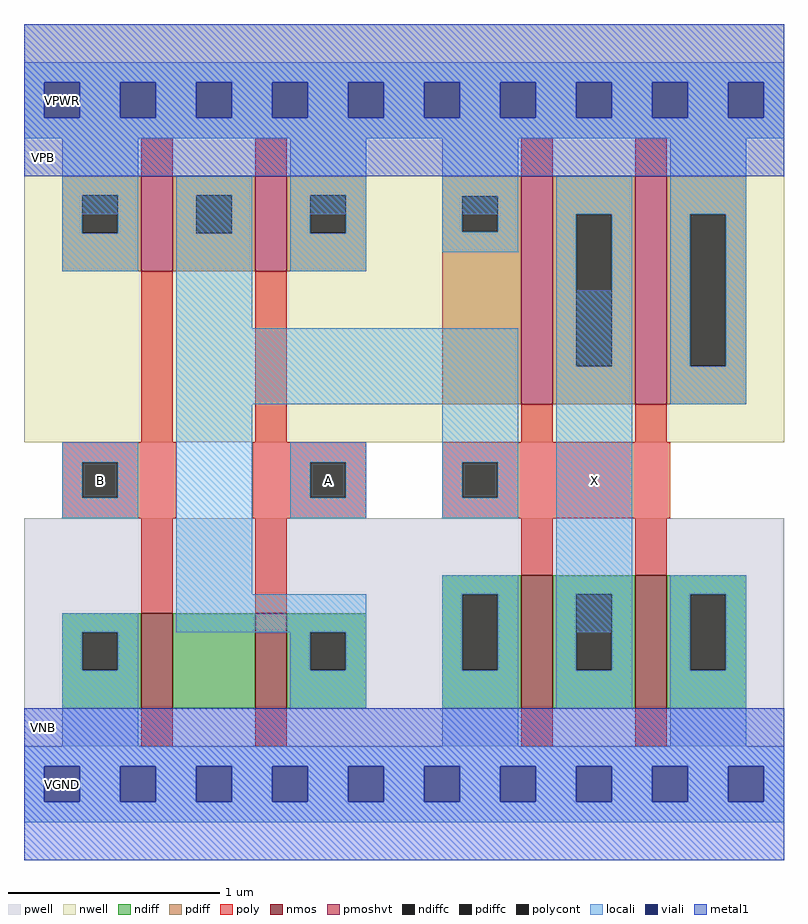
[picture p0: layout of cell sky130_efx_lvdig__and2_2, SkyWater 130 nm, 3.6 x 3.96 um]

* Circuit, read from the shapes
.subckt sky130_efx_lvdig__and2_2 B A X VGND VPWR VPB VNB
XM1 n1 B VGND VNB sky130_fd_pr__nfet_01v8 w=0.45 l=0.15
XM2 n2 A n1 VNB sky130_fd_pr__nfet_01v8 w=0.45 l=0.15
XM3 X n2 VGND VNB sky130_fd_pr__nfet_01v8 w=0.63 l=0.15 m=2
XM4 n2 B VPWR VPB sky130_fd_pr__pfet_01v8_hvt w=0.45 l=0.15
XM5 VPWR A n2 VPB sky130_fd_pr__pfet_01v8_hvt w=0.45 l=0.15
XM6 X n2 VPWR VPB sky130_fd_pr__pfet_01v8_hvt w=1.08 l=0.15 m=2
.ends

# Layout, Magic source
magic
tech sky130A
magscale 1 2
<< nwell >>
rect 0 288 720 684
<< pwell >>
rect 0 0 720 216
<< poly >>
rect 36 269 144 288
rect 36 235 55 269
rect 89 235 144 269
rect 36 216 144 235
rect 216 269 324 288
rect 216 235 271 269
rect 305 235 324 269
rect 216 216 324 235
rect 396 269 612 288
rect 396 235 415 269
rect 449 235 612 269
rect 396 216 612 235
<< polycont >>
rect 55 235 89 269
rect 271 235 305 269
rect 415 235 449 269
<< locali >>
rect 0 629 720 648
rect 0 595 19 629
rect 53 595 91 629
rect 125 595 163 629
rect 197 595 235 629
rect 269 595 307 629
rect 341 595 379 629
rect 413 595 451 629
rect 485 595 523 629
rect 557 595 595 629
rect 629 595 667 629
rect 701 595 720 629
rect 0 576 720 595
rect 36 504 108 576
rect 144 396 216 540
rect 252 504 324 576
rect 396 504 468 576
rect 612 504 684 576
rect 144 324 468 396
rect 36 269 108 288
rect 36 235 55 269
rect 89 235 108 269
rect 36 216 108 235
rect 144 144 216 324
rect 252 269 324 288
rect 252 235 271 269
rect 305 235 324 269
rect 252 216 324 235
rect 396 269 468 324
rect 396 235 415 269
rect 449 235 468 269
rect 396 216 468 235
rect 144 108 324 144
rect 504 108 576 432
rect 36 0 108 72
rect 396 0 468 72
rect 612 0 684 72
rect 0 -19 720 0
rect 0 -53 19 -19
rect 53 -53 91 -19
rect 125 -53 163 -19
rect 197 -53 235 -19
rect 269 -53 307 -19
rect 341 -53 379 -19
rect 413 -53 451 -19
rect 485 -53 523 -19
rect 557 -53 595 -19
rect 629 -53 667 -19
rect 701 -53 720 -19
rect 0 -72 720 -53
<< viali >>
rect 19 595 53 629
rect 91 595 125 629
rect 163 595 197 629
rect 235 595 269 629
rect 307 595 341 629
rect 379 595 413 629
rect 451 595 485 629
rect 523 595 557 629
rect 595 595 629 629
rect 667 595 701 629
rect 19 -53 53 -19
rect 91 -53 125 -19
rect 163 -53 197 -19
rect 235 -53 269 -19
rect 307 -53 341 -19
rect 379 -53 413 -19
rect 451 -53 485 -19
rect 523 -53 557 -19
rect 595 -53 629 -19
rect 667 -53 701 -19
<< metal1 >>
rect 0 629 720 684
rect 0 595 19 629
rect 53 595 91 629
rect 125 595 163 629
rect 197 595 235 629
rect 269 595 307 629
rect 341 595 379 629
rect 413 595 451 629
rect 485 595 523 629
rect 557 595 595 629
rect 629 595 667 629
rect 701 595 720 629
rect 0 540 720 595
rect 0 -19 720 36
rect 0 -53 19 -19
rect 53 -53 91 -19
rect 125 -53 163 -19
rect 197 -53 235 -19
rect 269 -53 307 -19
rect 341 -53 379 -19
rect 413 -53 451 -19
rect 485 -53 523 -19
rect 557 -53 595 -19
rect 629 -53 667 -19
rect 701 -53 720 -19
rect 0 -108 720 -53
use nmos_n2f5_f2_l150_fnf  nmos_n2f5_f2_l150_fnf_0
transform 1 0 72 0 1 36
box -72 -36 288 180
use nmos_n3f5_f1_l150  nmos_n3f5_f1_l150_0
transform 1 0 432 0 1 36
box -72 -36 180 180
use nmos_n3f5_f1_l150  nmos_n3f5_f1_l150_1
transform 1 0 540 0 1 36
box -72 -36 180 180
use pmos_n2f5_f2_l150_hvt_fff  pmos_n2f5_f2_l150_hvt_fff_0
transform 1 0 72 0 1 450
box -72 -162 288 126
use pmos_n6_f1_l150_hvt  pmos_n6_f1_l150_hvt_0
transform 1 0 540 0 1 324
box -72 -36 180 252
use pmos_n6_f1_l150_hvt_tf  pmos_n6_f1_l150_hvt_tf_0
transform 1 0 432 0 1 324
box -72 -36 180 252
<< labels >>
flabel locali 36 216 108 288 0 FreeSans 288 0 0 0 B
port 1 nsew signal input
flabel locali 252 216 324 288 0 FreeSans 288 0 0 0 A
port 2 nsew signal input
flabel locali 504 216 576 288 0 FreeSans 288 0 0 0 X
port 3 nsew signal output
flabel metal1 0 -72 72 0 0 FreeSans 288 0 0 0 VGND
port 4 nsew ground bidirectional
flabel metal1 0 576 72 648 0 FreeSans 288 0 0 0 VPWR
port 5 nsew power bidirectional
flabel nwell 0 540 36 576 0 FreeSans 288 0 0 0 VPB
port 6 nsew power bidirectional
flabel pwell 0 0 36 36 0 FreeSans 288 0 0 0 VNB
port 7 nsew ground bidirectional
<< properties >>
string FIXED_BBOX 0 -36 720 612
<< end >>

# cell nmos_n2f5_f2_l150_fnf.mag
magic
tech sky130A
magscale 1 2
<< pwell >>
rect -72 -36 288 180
<< nmos >>
rect 39 0 69 90
rect 147 0 177 90
<< ndiff >>
rect -36 72 39 90
rect -36 36 -17 72
rect 17 36 39 72
rect -36 0 39 36
rect 69 0 147 90
rect 177 72 252 90
rect 177 36 199 72
rect 233 36 252 72
rect 177 0 252 36
<< ndiffc >>
rect -17 36 17 72
rect 199 36 233 72
<< poly >>
rect 39 90 69 180
rect 147 90 177 180
rect 39 -36 69 0
rect 147 -36 177 0
<< locali >>
rect -36 72 36 90
rect -36 36 -17 72
rect 17 36 36 72
rect -36 0 36 36
rect 180 72 252 90
rect 180 36 199 72
rect 233 36 252 72
rect 180 0 252 36
<< end >>

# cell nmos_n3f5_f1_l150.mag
magic
tech sky130A
magscale 1 2
<< pwell >>
rect -72 -36 180 180
<< nmos >>
rect 39 0 69 126
<< ndiff >>
rect -36 108 39 126
rect -36 36 -17 108
rect 17 36 39 108
rect -36 0 39 36
rect 69 108 144 126
rect 69 36 91 108
rect 125 36 144 108
rect 69 0 144 36
<< ndiffc >>
rect -17 36 17 108
rect 91 36 125 108
<< poly >>
rect 39 126 69 180
rect 39 -36 69 0
<< locali >>
rect -36 108 36 126
rect -36 36 -17 108
rect 17 36 36 108
rect -36 0 36 36
rect 72 108 144 126
rect 72 36 91 108
rect 125 36 144 108
rect 72 0 144 36
<< labels >>
rlabel locali 0 18 0 18 0 S0
port 1 nsew
rlabel locali 108 18 108 18 0 D0
port 2 nsew
<< end >>

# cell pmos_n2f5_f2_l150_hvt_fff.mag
magic
tech sky130A
magscale 1 2
<< nwell >>
rect -72 -162 288 126
<< pmoshvt >>
rect 39 0 69 90
rect 147 0 177 90
<< pdiff >>
rect -36 72 39 90
rect -36 36 -17 72
rect 17 36 39 72
rect -36 0 39 36
rect 69 72 147 90
rect 69 36 91 72
rect 125 36 147 72
rect 69 0 147 36
rect 177 72 252 90
rect 177 36 199 72
rect 233 36 252 72
rect 177 0 252 36
<< pdiffc >>
rect -17 36 17 72
rect 91 36 125 72
rect 199 36 233 72
<< poly >>
rect 39 90 69 126
rect 147 90 177 126
rect 39 -162 69 0
rect 147 -162 177 0
<< locali >>
rect -36 72 36 90
rect -36 36 -17 72
rect 17 36 36 72
rect -36 0 36 36
rect 72 72 144 90
rect 72 36 91 72
rect 125 36 144 72
rect 72 0 144 36
rect 180 72 252 90
rect 180 36 199 72
rect 233 36 252 72
rect 180 0 252 36
<< end >>

# cell pmos_n6_f1_l150_hvt: kit device pmos, n 6 fingers 1 length 0.15 butted 0 ltap 0 rtap 0 vt hvt tgate 0 bgate 0

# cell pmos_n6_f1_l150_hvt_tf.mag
magic
tech sky130A
magscale 1 2
<< nwell >>
rect -72 -36 180 252
<< pmoshvt >>
rect 39 0 69 216
<< pdiff >>
rect -36 197 39 216
rect -36 163 -17 197
rect 17 163 39 197
rect -36 0 39 163
rect 69 180 144 216
rect 69 36 91 180
rect 125 36 144 180
rect 69 0 144 36
<< pdiffc >>
rect -17 163 17 197
rect 91 36 125 180
<< poly >>
rect 39 216 69 252
rect 39 -36 69 0
<< locali >>
rect -36 197 36 216
rect -36 163 -17 197
rect 17 163 36 197
rect -36 144 36 163
rect 72 180 144 216
rect 72 36 91 180
rect 125 36 144 180
rect 72 0 144 36
<< end >>
